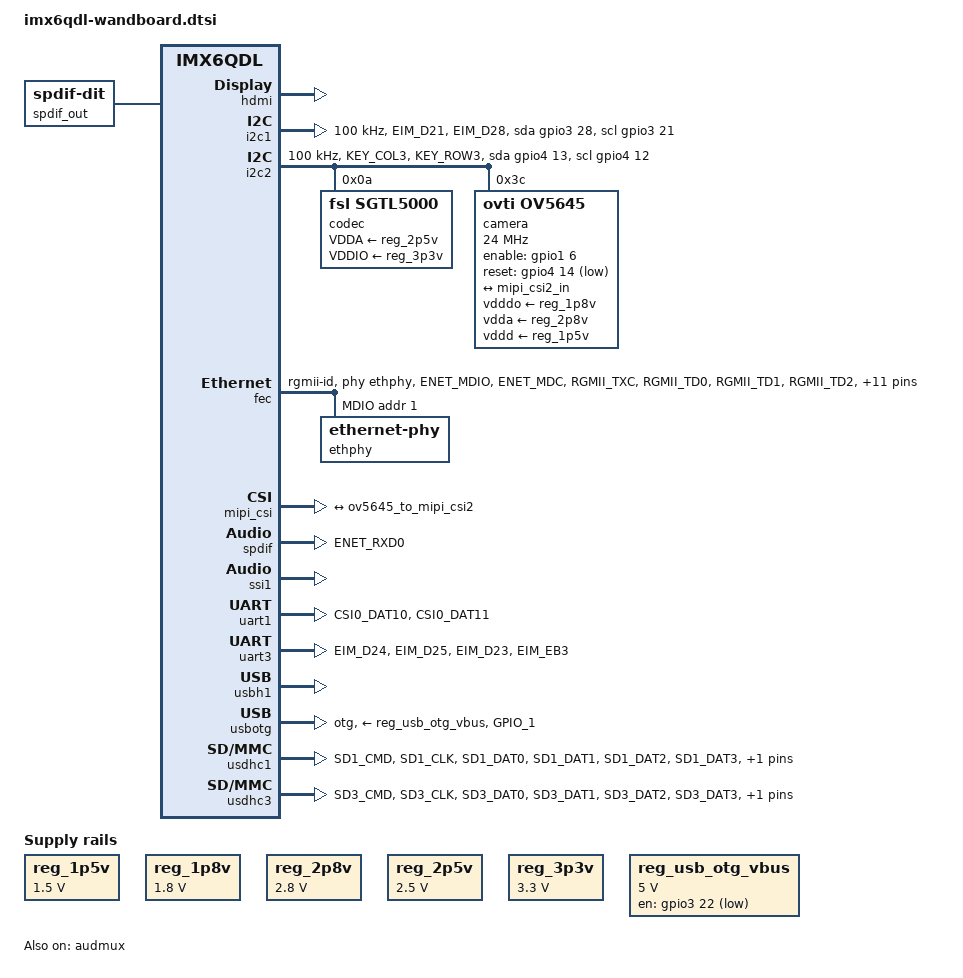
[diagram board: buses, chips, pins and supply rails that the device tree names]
// SPDX-License-Identifier: GPL-2.0
/*
 * Copyright 2013 Freescale Semiconductor, Inc.
 *
 * Author: Fabio Estevam <fabio.estevam@freescale.com>
 */

#include <dt-bindings/gpio/gpio.h>

/ {
	chosen {
		stdout-path = &uart1;
	};

	sound {
		compatible = "fsl,imx6-wandboard-sgtl5000",
			     "fsl,imx-audio-sgtl5000";
		model = "imx6-wandboard-sgtl5000";
		ssi-controller = <&ssi1>;
		audio-codec = <&codec>;
		audio-routing =
			"MIC_IN", "Mic Jack",
			"Mic Jack", "Mic Bias",
			"Headphone Jack", "HP_OUT";
		mux-int-port = <1>;
		mux-ext-port = <3>;
	};

	spdif_out: spdif-out {
		compatible = "linux,spdif-dit";
		#sound-dai-cells = <0>;
	};

	sound-spdif {
		compatible = "fsl,imx-audio-spdif";
		model = "imx-spdif";
		audio-cpu = <&spdif>;
		audio-codec = <&spdif_out>;
	};

	reg_1p5v: regulator-1p5v {
		compatible = "regulator-fixed";
		regulator-name = "1P5V";
		regulator-min-microvolt = <1500000>;
		regulator-max-microvolt = <1500000>;
		regulator-always-on;
	};

	reg_1p8v: regulator-1p8v {
		compatible = "regulator-fixed";
		regulator-name = "1P8V";
		regulator-min-microvolt = <1800000>;
		regulator-max-microvolt = <1800000>;
		regulator-always-on;
	};

	reg_2p8v: regulator-2p8v {
		compatible = "regulator-fixed";
		regulator-name = "2P8V";
		regulator-min-microvolt = <2800000>;
		regulator-max-microvolt = <2800000>;
		regulator-always-on;
	};

	reg_2p5v: regulator-2p5v {
		compatible = "regulator-fixed";
		regulator-name = "2P5V";
		regulator-min-microvolt = <2500000>;
		regulator-max-microvolt = <2500000>;
		regulator-always-on;
	};

	reg_3p3v: regulator-3p3v {
		compatible = "regulator-fixed";
		regulator-name = "3P3V";
		regulator-min-microvolt = <3300000>;
		regulator-max-microvolt = <3300000>;
		regulator-always-on;
	};

	reg_usb_otg_vbus: regulator-usbotgvbus {
		compatible = "regulator-fixed";
		regulator-name = "usb_otg_vbus";
		regulator-min-microvolt = <5000000>;
		regulator-max-microvolt = <5000000>;
		pinctrl-names = "default";
		pinctrl-0 = <&pinctrl_usbotgvbus>;
		gpio = <&gpio3 22 GPIO_ACTIVE_LOW>;
	};
};

&audmux {
	pinctrl-names = "default";
	pinctrl-0 = <&pinctrl_audmux>;
	status = "okay";
};

&hdmi {
	ddc-i2c-bus = <&i2c1>;
	status = "okay";
};

&i2c1 {
	clock-frequency = <100000>;
	pinctrl-names = "default", "gpio";
	pinctrl-0 = <&pinctrl_i2c1>;
	pinctrl-1 = <&pinctrl_i2c1_gpio>;
	scl-gpios = <&gpio3 21 (GPIO_ACTIVE_HIGH | GPIO_OPEN_DRAIN)>;
	sda-gpios = <&gpio3 28 (GPIO_ACTIVE_HIGH | GPIO_OPEN_DRAIN)>;
	status = "okay";
};

&i2c2 {
	clock-frequency = <100000>;
	pinctrl-names = "default", "gpio";
	pinctrl-0 = <&pinctrl_i2c2>;
	pinctrl-1 = <&pinctrl_i2c2_gpio>;
	scl-gpios = <&gpio4 12 (GPIO_ACTIVE_HIGH | GPIO_OPEN_DRAIN)>;
	sda-gpios = <&gpio4 13 (GPIO_ACTIVE_HIGH | GPIO_OPEN_DRAIN)>;
	status = "okay";

	codec: sgtl5000@a {
		pinctrl-names = "default";
		pinctrl-0 = <&pinctrl_mclk>;
		compatible = "fsl,sgtl5000";
		reg = <0x0a>;
		#sound-dai-cells = <0>;
		clocks = <&clks IMX6QDL_CLK_CKO>;
		VDDA-supply = <&reg_2p5v>;
		VDDIO-supply = <&reg_3p3v>;
		lrclk-strength = <3>;
	};

	camera@3c {
		compatible = "ovti,ov5645";
		pinctrl-names = "default";
		pinctrl-0 = <&pinctrl_ov5645>;
		reg = <0x3c>;
		clocks = <&clks IMX6QDL_CLK_CKO2>;
		clock-frequency = <24000000>;
		vdddo-supply = <&reg_1p8v>;
		vdda-supply = <&reg_2p8v>;
		vddd-supply = <&reg_1p5v>;
		enable-gpios = <&gpio1 6 GPIO_ACTIVE_HIGH>;
		reset-gpios = <&gpio4 14 GPIO_ACTIVE_LOW>;

		port {
			ov5645_to_mipi_csi2: endpoint {
				remote-endpoint = <&mipi_csi2_in>;
				clock-lanes = <0>;
				data-lanes = <1 2>;
			};
		};
	};
};

&iomuxc {
	pinctrl-names = "default";

	pinctrl_audmux: audmuxgrp {
		fsl,pins = <
			MX6QDL_PAD_CSI0_DAT7__AUD3_RXD		0x130b0
			MX6QDL_PAD_CSI0_DAT4__AUD3_TXC		0x130b0
			MX6QDL_PAD_CSI0_DAT5__AUD3_TXD		0x110b0
			MX6QDL_PAD_CSI0_DAT6__AUD3_TXFS		0x130b0
		>;
	};

	pinctrl_enet: enetgrp {
		fsl,pins = <
			MX6QDL_PAD_ENET_MDIO__ENET_MDIO		0x1b0b0
			MX6QDL_PAD_ENET_MDC__ENET_MDC		0x1b0b0
			MX6QDL_PAD_RGMII_TXC__RGMII_TXC		0x1b030
			MX6QDL_PAD_RGMII_TD0__RGMII_TD0		0x1b030
			MX6QDL_PAD_RGMII_TD1__RGMII_TD1		0x1b030
			MX6QDL_PAD_RGMII_TD2__RGMII_TD2		0x1b030
			MX6QDL_PAD_RGMII_TD3__RGMII_TD3		0x1b030
			MX6QDL_PAD_RGMII_TX_CTL__RGMII_TX_CTL	0x1b030
			MX6QDL_PAD_ENET_REF_CLK__ENET_TX_CLK	0x1b0b0
			MX6QDL_PAD_RGMII_RXC__RGMII_RXC		0x1b030
			MX6QDL_PAD_RGMII_RD0__RGMII_RD0		0x1b030
			MX6QDL_PAD_RGMII_RD1__RGMII_RD1		0x1b030
			MX6QDL_PAD_RGMII_RD2__RGMII_RD2		0x1b030
			MX6QDL_PAD_RGMII_RD3__RGMII_RD3		0x1b030
			MX6QDL_PAD_RGMII_RX_CTL__RGMII_RX_CTL	0x1b030
			MX6QDL_PAD_GPIO_16__ENET_REF_CLK	0x4001b0a8
		>;
	};

	pinctrl_i2c1: i2c1grp {
		fsl,pins = <
			MX6QDL_PAD_EIM_D21__I2C1_SCL		0x4001b8b1
			MX6QDL_PAD_EIM_D28__I2C1_SDA		0x4001b8b1
		>;
	};

	pinctrl_i2c1_gpio: i2c1gpiogrp {
		fsl,pins = <
			MX6QDL_PAD_EIM_D21__GPIO3_IO21		0x4001b8b0
			MX6QDL_PAD_EIM_D28__GPIO3_IO28		0x4001b8b0
		>;
	};

	pinctrl_i2c2: i2c2grp {
		fsl,pins = <
			MX6QDL_PAD_KEY_COL3__I2C2_SCL		0x4001b8b1
			MX6QDL_PAD_KEY_ROW3__I2C2_SDA		0x4001b8b1
		>;
	};

	pinctrl_i2c2_gpio: i2c2gpiogrp {
		fsl,pins = <
			MX6QDL_PAD_KEY_COL3__GPIO4_IO12		0x4001b8b0
			MX6QDL_PAD_KEY_ROW3__GPIO4_IO13		0x4001b8b0
		>;
	};

	pinctrl_mclk: mclkgrp {
		fsl,pins = <
			MX6QDL_PAD_GPIO_0__CCM_CLKO1		0x130b0
		>;
	};

	pinctrl_ov5645: ov5645grp {
		fsl,pins = <
			MX6QDL_PAD_GPIO_3__CCM_CLKO2		0x000b0
			MX6QDL_PAD_GPIO_6__GPIO1_IO06		0x1b0b0
			MX6QDL_PAD_KEY_COL4__GPIO4_IO14		0x1b0b0
		>;
	};

	pinctrl_spdif: spdifgrp {
		fsl,pins = <
			MX6QDL_PAD_ENET_RXD0__SPDIF_OUT		0x1b0b0
		>;
	};

	pinctrl_uart1: uart1grp {
		fsl,pins = <
			MX6QDL_PAD_CSI0_DAT10__UART1_TX_DATA	0x1b0b1
			MX6QDL_PAD_CSI0_DAT11__UART1_RX_DATA	0x1b0b1
		>;
	};

	pinctrl_uart3: uart3grp {
		fsl,pins = <
			MX6QDL_PAD_EIM_D24__UART3_TX_DATA	0x1b0b1
			MX6QDL_PAD_EIM_D25__UART3_RX_DATA	0x1b0b1
			MX6QDL_PAD_EIM_D23__UART3_CTS_B		0x1b0b1
			MX6QDL_PAD_EIM_EB3__UART3_RTS_B		0x1b0b1
		>;
	};

	pinctrl_usbotg: usbotggrp {
		fsl,pins = <
			MX6QDL_PAD_GPIO_1__USB_OTG_ID		0x17059
		>;
	};

	pinctrl_usbotgvbus: usbotgvbusgrp {
		fsl,pins = <
			MX6QDL_PAD_EIM_D22__GPIO3_IO22		0x130b0
		>;
	};

	pinctrl_usdhc1: usdhc1grp {
		fsl,pins = <
			MX6QDL_PAD_SD1_CMD__SD1_CMD		0x17059
			MX6QDL_PAD_SD1_CLK__SD1_CLK		0x10059
			MX6QDL_PAD_SD1_DAT0__SD1_DATA0		0x17059
			MX6QDL_PAD_SD1_DAT1__SD1_DATA1		0x17059
			MX6QDL_PAD_SD1_DAT2__SD1_DATA2		0x17059
			MX6QDL_PAD_SD1_DAT3__SD1_DATA3		0x17059
		>;
	};

	pinctrl_usdhc2: usdhc2grp {
		fsl,pins = <
			MX6QDL_PAD_SD2_CMD__SD2_CMD		0x17059
			MX6QDL_PAD_SD2_CLK__SD2_CLK		0x10059
			MX6QDL_PAD_SD2_DAT0__SD2_DATA0		0x17059
			MX6QDL_PAD_SD2_DAT1__SD2_DATA1		0x17059
			MX6QDL_PAD_SD2_DAT2__SD2_DATA2		0x17059
			MX6QDL_PAD_SD2_DAT3__SD2_DATA3		0x17059
		>;
	};

	pinctrl_usdhc3: usdhc3grp {
		fsl,pins = <
			MX6QDL_PAD_SD3_CMD__SD3_CMD		0x17059
			MX6QDL_PAD_SD3_CLK__SD3_CLK		0x10059
			MX6QDL_PAD_SD3_DAT0__SD3_DATA0		0x17059
			MX6QDL_PAD_SD3_DAT1__SD3_DATA1		0x17059
			MX6QDL_PAD_SD3_DAT2__SD3_DATA2		0x17059
			MX6QDL_PAD_SD3_DAT3__SD3_DATA3		0x17059
		>;
	};
};

&fec {
	pinctrl-names = "default";
	pinctrl-0 = <&pinctrl_enet>;
	phy-mode = "rgmii-id";
	phy-handle = <&ethphy>;
	phy-reset-gpios = <&gpio3 29 GPIO_ACTIVE_LOW>;
	status = "okay";

	mdio {
		#address-cells = <1>;
		#size-cells = <0>;

		ethphy: ethernet-phy@1 {
			reg = <1>;
			qca,clk-out-frequency = <125000000>;
		};
	};
};

&mipi_csi {
	status = "okay";

	port@0 {
		reg = <0>;

		mipi_csi2_in: endpoint {
			remote-endpoint = <&ov5645_to_mipi_csi2>;
			clock-lanes = <0>;
			data-lanes = <1 2>;
		};
	};
};

&spdif {
	pinctrl-names = "default";
	pinctrl-0 = <&pinctrl_spdif>;
	status = "okay";
};

&ssi1 {
	status = "okay";
};

&uart1 {
	pinctrl-names = "default";
	pinctrl-0 = <&pinctrl_uart1>;
	status = "okay";
};

&uart3 {
	pinctrl-names = "default";
	pinctrl-0 = <&pinctrl_uart3>;
	uart-has-rtscts;
	status = "okay";
};

&usbh1 {
	status = "okay";
};

&usbotg {
	vbus-supply = <&reg_usb_otg_vbus>;
	pinctrl-names = "default";
	pinctrl-0 = <&pinctrl_usbotg>;
	disable-over-current;
	dr_mode = "otg";
	status = "okay";
};

&usdhc1 {
	pinctrl-names = "default";
	pinctrl-0 = <&pinctrl_usdhc1>;
	cd-gpios = <&gpio1 2 GPIO_ACTIVE_LOW>;
	status = "okay";
};

&usdhc3 {
	pinctrl-names = "default";
	pinctrl-0 = <&pinctrl_usdhc3>;
	cd-gpios = <&gpio3 9 GPIO_ACTIVE_LOW>;
	status = "okay";
};
